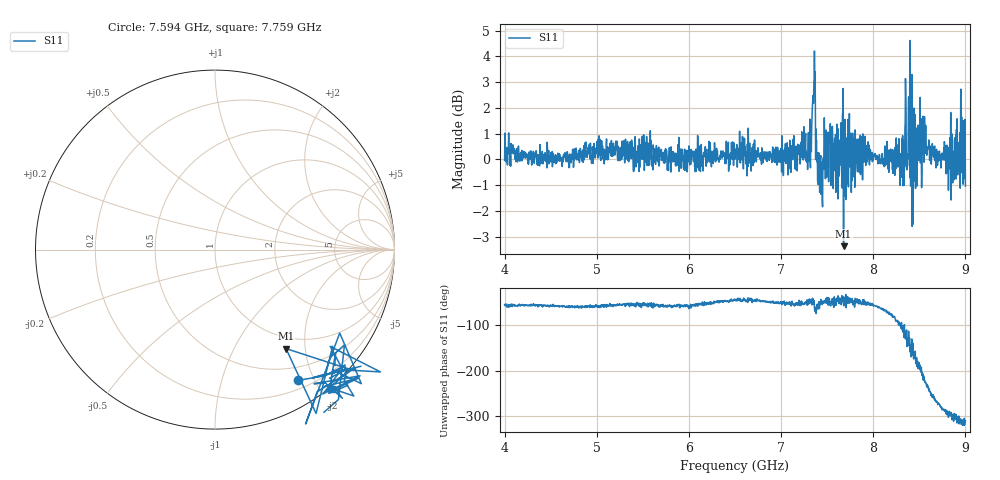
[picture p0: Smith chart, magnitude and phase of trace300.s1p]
! Created with skrf 1.8.0 (http://scikit-rf.org).
# Hz S RI R 50.0
!freq ReS11 ImS11
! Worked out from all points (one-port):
!   1601 points, 4 GHz to 9 GHz, reference 50 ohm
!   lowest |S11| = -3.4 dB at 7.678 GHz (marker M1), VSWR 5.23, Z = 40.3 - j82.4 ohm
!   |S11| at or under -10 dB: nowhere
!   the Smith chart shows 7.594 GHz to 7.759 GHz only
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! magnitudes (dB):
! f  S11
! 4 GHz  0.0
! 4.625 GHz  -0.3
! 5.009 GHz  0.3
! 5.25 GHz  0.0
! 5.875 GHz  -0.1
! 6.5 GHz  0.0
! 7.125 GHz  0.5
! 7.294 GHz  0.7
! 7.325 GHz  1.1
! 7.347 GHz  2.5
! 7.369 GHz  3.4
! 7.4 GHz  0.3
! 7.428 GHz  0.1
! 7.509 GHz  0.0
! 7.591 GHz  1.0
! 7.638 GHz  0.8
! 7.647 GHz  -0.2
! 7.678 GHz  -3.4
! 7.703 GHz  -1.6
! 7.75 GHz  0.1
! 8.297 GHz  0.2
! 8.375 GHz  0.2
! 8.425 GHz  -0.5
! 8.522 GHz  0.2
! 8.806 GHz  0.4
! 8.956 GHz  0.2
! 8.972 GHz  0.3
! 9 GHz  -1.0
